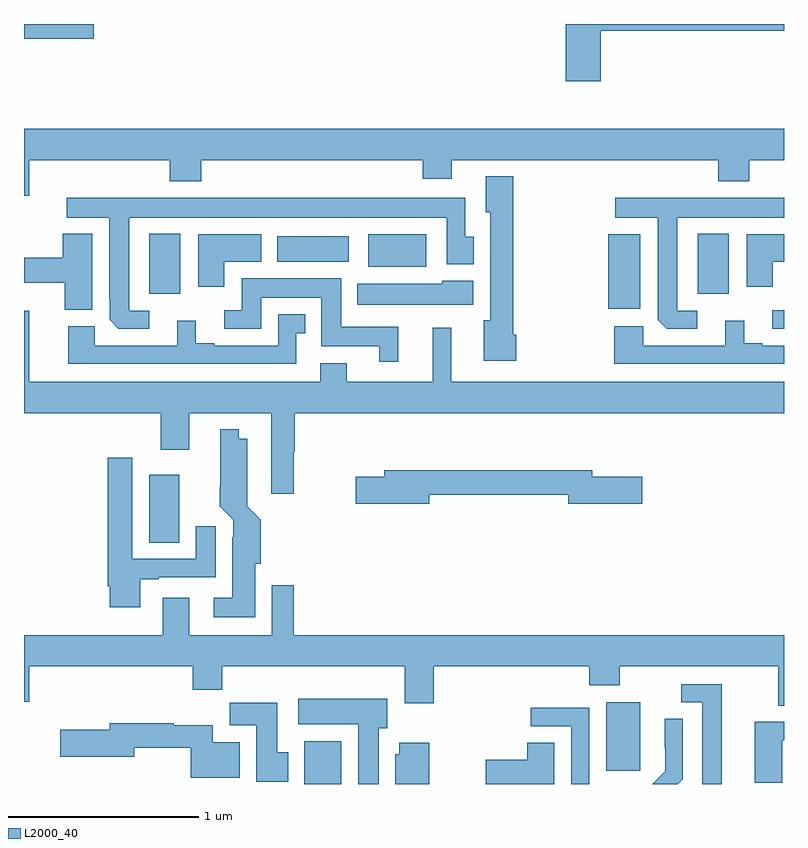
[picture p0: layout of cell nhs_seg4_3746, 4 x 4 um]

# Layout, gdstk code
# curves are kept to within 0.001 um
import gdstk
lib = gdstk.Library(unit=1e-6, precision=1e-09)
def R(c, l, rs):  # rectangles x0, y0, x1, y1
    for r in rs: c.add(gdstk.rectangle(r[:2], r[2:], *l))
def P(c, l, *ps):  # polygons
    for p in ps: c.add(gdstk.Polygon(p, *l))
L2000_40 = (2000, 40)

nhs_seg4_3746 = lib.new_cell('nhs_seg4_3746')
R(nhs_seg4_3746, L2000_40, [(310.475,762.9,310.671,763.126), (312.065,762.969,312.244,763.33), (309.659,764.17,309.817,764.527), (312.939,765.297,313,765.393), (312.074,765.401,312.244,765.793), (309.659,765.48,309.823,765.796), (312.545,765.48,312.709,765.796), (310.811,765.623,311.116,765.793), (310.334,765.65,310.708,765.784), (309,766.822,309.367,766.9)])
P(nhs_seg4_3746, L2000_40, [(312.035,766.864),(313,766.864),(313,766.9),(311.852,766.9),(311.852,766.599),(312.035,766.599)],
  [(309.028,766.184),(309.767,766.184),(309.767,766.073),(309.932,766.073),(309.932,766.184),(311.099,766.184),(311.099,766.085),(311.251,766.085),(311.251,766.184),(312.653,766.184),(312.653,766.073),(312.818,766.073),(312.818,766.184),(313,766.184),(313,766.348),(309,766.348),(309,765.996),(309.028,765.996)],
  [(311.591,765.264),(311.576,765.264),(311.576,766.099),(311.429,766.099),(311.429,765.909),(311.453,765.909),(311.453,765.342),(311.42,765.342),(311.42,765.128),(311.591,765.128)],
  [(312.544,765.39),(312.439,765.39),(312.439,765.881),(313,765.881),(313,765.985),(312.111,765.985),(312.111,765.881),(312.335,765.881),(312.336,765.343),(312.382,765.297),(312.544,765.297)],
  [(309.658,765.39),(309.553,765.39),(309.553,765.881),(311.226,765.881),(311.226,765.636),(311.368,765.636),(311.368,765.78),(311.323,765.78),(311.323,765.985),(309.225,765.985),(309.225,765.881),(309.449,765.881),(309.45,765.343),(309.496,765.297),(309.658,765.297)],
  [(309.358,765.796),(309.203,765.796),(309.203,765.669),(309,765.669),(309,765.539),(309.215,765.539),(309.215,765.395),(309.358,765.395)],
  [(312.94,765.65),(313,765.65),(313,765.793),(312.803,765.793),(312.803,765.516),(312.94,765.516)],
  [(310.054,765.65),(310.249,765.65),(310.249,765.793),(309.917,765.793),(309.917,765.516),(310.054,765.516)],
  [(310.97,765.307),(310.669,765.307),(310.669,765.562),(310.145,765.562),(310.145,765.393),(310.053,765.393),(310.053,765.297),(310.249,765.297),(310.249,765.458),(310.565,765.458),(310.565,765.203),(310.871,765.203),(310.871,765.123),(310.97,765.123)],
  [(311.365,765.55),(311.202,765.55),(311.202,765.532),(310.754,765.532),(310.754,765.422),(311.365,765.422)],
  [(310.419,764.648),(310.424,764.648),(310.424,764.852),(313,764.852),(313,765.016),(311.248,765.016),(311.248,765.301),(311.15,765.301),(311.15,765.016),(310.699,765.016),(310.699,765.115),(310.559,765.115),(310.559,765.016),(309.028,765.016),(309.028,765.391),(309,765.391),(309,764.852),(309.719,764.852),(309.719,764.658),(309.871,764.658),(309.871,764.852),(310.301,764.852),(310.301,764.427),(310.419,764.427)],
  [(310.434,765.273),(310.48,765.273),(310.48,765.373),(310.338,765.373),(310.338,765.207),(310,765.207),(310,765.22),(309.904,765.22),(309.904,765.337),(309.806,765.337),(309.806,765.207),(309.372,765.207),(309.372,765.31),(309.233,765.31),(309.233,765.111),(310.434,765.111)],
  [(313,765.207),(312.886,765.207),(312.886,765.22),(312.79,765.22),(312.79,765.337),(312.692,765.337),(312.692,765.207),(312.258,765.207),(312.258,765.31),(312.107,765.31),(312.107,765.111),(313,765.111)],
  [(310.216,764.058),(310.247,764.058),(310.247,764.29),(310.175,764.362),(310.174,764.716),(310.129,764.716),(310.129,764.767),(310.032,764.767),(310.031,764.362),(310.101,764.292),(310.101,764.198),(310.097,764.198),(310.097,763.879),(309.999,763.879),(309.999,763.778),(310.216,763.778)],
  [(309.613,763.977),(309.709,763.977),(309.709,763.989),(310.009,763.989),(310.009,764.257),(309.905,764.257),(309.905,764.085),(309.571,764.085),(309.571,764.617),(309.44,764.617),(309.44,763.942),(309.452,763.942),(309.452,763.83),(309.613,763.83)],
  [(311.134,764.422),(311.864,764.422),(311.864,764.375),(312.253,764.375),(312.253,764.517),(311.992,764.517),(311.992,764.551),(310.895,764.551),(310.895,764.517),(310.746,764.517),(310.746,764.375),(311.134,764.375)],
  [(313,763.684),(310.421,763.684),(310.421,763.945),(310.305,763.945),(310.305,763.684),(309.871,763.684),(309.871,763.879),(309.731,763.879),(309.731,763.684),(309,763.684),(309,763.332),(309.028,763.332),(309.028,763.52),(309.887,763.52),(309.887,763.396),(310.043,763.396),(310.043,763.52),(311.003,763.52),(311.003,763.326),(311.156,763.326),(311.156,763.52),(311.975,763.52),(311.975,763.421),(312.135,763.421),(312.135,763.52),(312.971,763.52),(312.971,763.312),(313,763.312)],
  [(312.673,763.425),(312.459,763.425),(312.459,763.329),(312.569,763.329),(312.569,762.9),(312.673,762.9)],
  [(310.867,763.194),(310.912,763.194),(310.912,763.348),(310.443,763.348),(310.443,763.214),(310.76,763.214),(310.76,762.9),(310.867,762.9)],
  [(310.39,763.068),(310.333,763.068),(310.333,763.327),(310.084,763.327),(310.084,763.208),(310.223,763.208),(310.223,762.912),(310.39,762.912)],
  [(311.976,763.302),(311.667,763.302),(311.667,763.203),(311.88,763.203),(311.88,762.9),(311.976,762.9)],
  [(312.468,762.926),(312.468,763.244),(312.372,763.244),(312.372,763.09),(312.374,763.09),(312.374,762.968),(312.306,762.9),(312.442,762.9)],
  [(312.99,763.131),(313,763.131),(313,763.227),(312.845,763.227),(312.845,762.907),(312.99,762.907)],
  [(310.135,763.12),(309.994,763.12),(309.994,763.208),(309.788,763.208),(309.788,763.219),(309.452,763.219),(309.452,763.185),(309.192,763.185),(309.192,763.043),(309.58,763.043),(309.58,763.09),(309.877,763.09),(309.877,762.932),(310.135,762.932)],
  [(311.791,763.118),(311.648,763.118),(311.648,763.028),(311.43,763.028),(311.43,762.9),(311.791,762.9)],
  [(311.134,763.117),(310.976,763.117),(310.976,763.056),(310.955,763.056),(310.955,762.9),(311.134,762.9)])

lib.write_gds('nhs_seg4_3746.gds')
